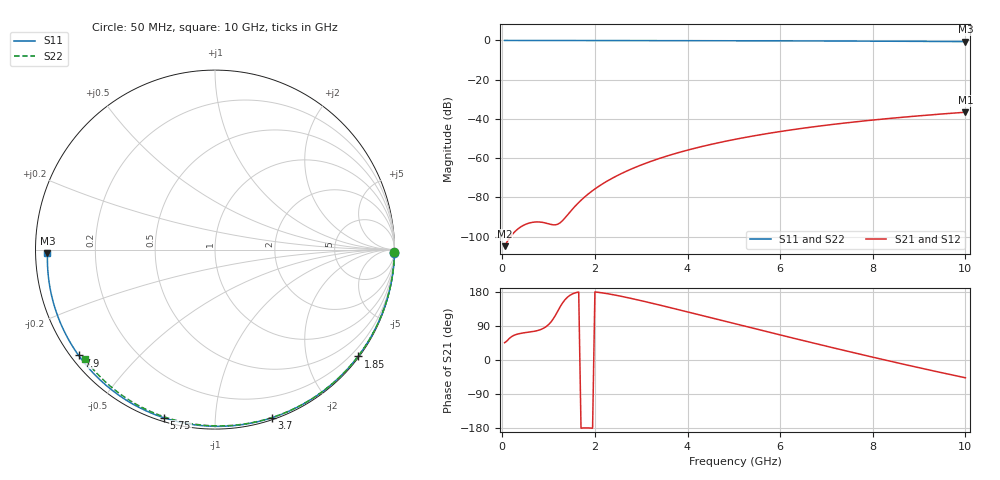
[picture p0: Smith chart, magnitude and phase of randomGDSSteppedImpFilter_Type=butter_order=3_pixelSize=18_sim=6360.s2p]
! freq	dB(S11)	phase(S11)	dB(S12)	phase(S12)
!  dB(S21)	phase(S21)	dB(S22)	phase(S22)
!S-par simulation data
#  GHz  S  DB  R 50
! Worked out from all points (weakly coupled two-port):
!   200 points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, 50 MHz to 10 GHz, reference 50 ohm
!   highest |S21| = -36.59 dB at 10 GHz (marker M1); lowest = -104.9 dB at 50 MHz (marker M2)
!   lowest |S11| = -0.6 dB at 10 GHz (marker M3), VSWR 29.08, Z = 1.72 - j0.517 ohm
!   |S11| at or under -10 dB: nowhere
!   |S22| runs from -0.5 to 0.0 dB; largest |S21 - S12| = 0
!   S11 on the Smith chart (normalised r, x): 50 MHz: open; 1.85 GHz: 0.03, -3.01; 3.7 GHz: 0.02, -1.39; 5.75 GHz: 0.02, -0.74; 7.9 GHz: 0.02, -0.34; 10 GHz: 0.03, -0.01
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0.05  -0.00 -1.0  -104.90 45.6  -104.90 45.6  -0.00 -0.8
0.45  -0.01 -9.1  -94.35 71.4  -94.35 71.4  -0.01 -7.3
0.85  -0.02 -17.1  -92.69 81.4  -92.69 81.4  -0.02 -13.6
1.3  -0.03 -26.0  -91.88 150.3  -91.88 150.3  -0.03 -20.8
1.75  -0.04 -34.8  -80.41 -179.3  -80.41 -179.3  -0.04 -27.8
1.8  -0.05 -35.8  -79.38 -179.1  -79.38 -179.1  -0.04 -28.6
1.85  -0.05 -36.7  -78.40 -179.2  -78.40 -179.2  -0.04 -29.4
2.15  -0.05 -42.5  -73.35 177.3  -73.35 177.3  -0.04 -34.0
2.5  -0.06 -49.2  -68.70 169.8  -68.70 169.8  -0.05 -39.4
2.9  -0.07 -56.7  -64.43 159.3  -64.43 159.3  -0.06 -45.4
3.4  -0.09 -65.9  -60.11 144.9  -60.11 144.9  -0.07 -52.9
3.7  -0.10 -71.4  -57.90 136.0  -57.90 136.0  -0.08 -57.3
4.35  -0.12 -82.9  -53.85 116.3  -53.85 116.3  -0.10 -66.7
5.05  -0.15 -95.0  -50.31 94.9  -50.31 94.9  -0.12 -76.5
5.75  -0.18 -106.8  -47.37 73.7  -47.37 73.7  -0.14 -86.0
6.2  -0.21 -114.3  -45.73 60.1  -45.73 60.1  -0.16 -92.0
6.7  -0.24 -122.5  -44.10 45.3  -44.10 45.3  -0.19 -98.5
7.3  -0.29 -132.3  -42.36 27.6  -42.36 27.6  -0.23 -106.2
7.9  -0.34 -142.2  -40.82 10.3  -40.82 10.3  -0.27 -113.8
8.35  -0.38 -149.7  -39.78 -2.4  -39.78 -2.4  -0.31 -119.4
9.2  -0.48 -164.3  -38.04 -25.8  -38.04 -25.8  -0.38 -129.9
10  -0.60 -178.8  -36.59 -46.9  -36.59 -46.9  -0.47 -139.8
